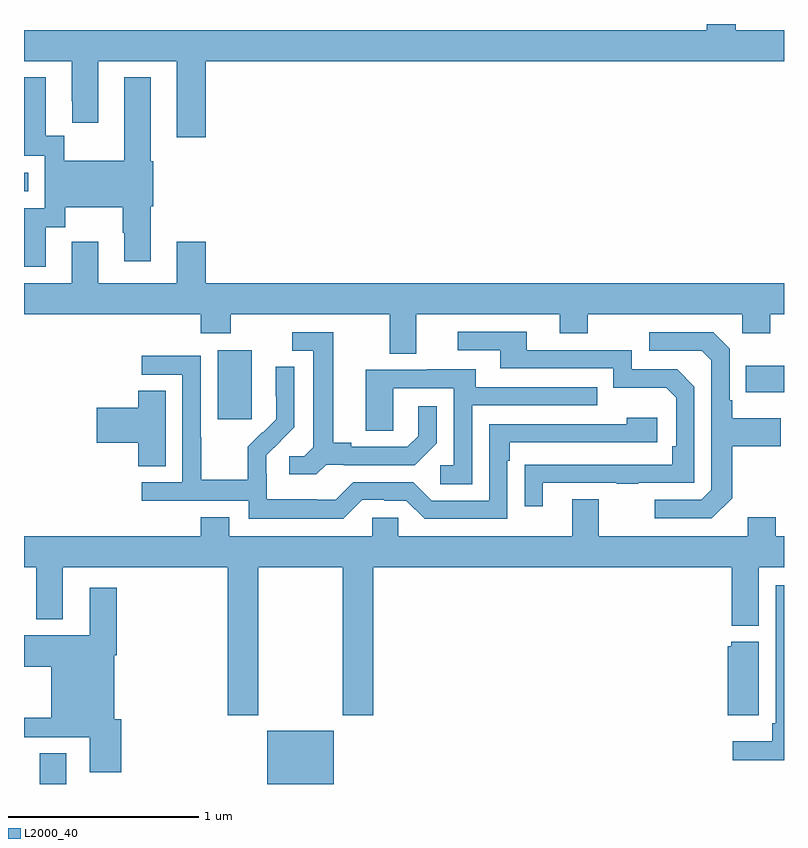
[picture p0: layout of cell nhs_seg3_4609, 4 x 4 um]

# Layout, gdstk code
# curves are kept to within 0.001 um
import gdstk
lib = gdstk.Library(unit=1e-6, precision=1e-09)
def R(c, l, rs):  # rectangles x0, y0, x1, y1
    for r in rs: c.add(gdstk.rectangle(r[:2], r[2:], *l))
def P(c, l, *ps):  # polygons
    for p in ps: c.add(gdstk.Polygon(p, *l))
L2000_40 = (2000, 40)

nhs_seg3_4609 = lib.new_cell('nhs_seg3_4609')
R(nhs_seg3_4609, L2000_40, [(357.083,742.4,357.223,742.562), (358.28,742.4,358.63,742.681), (358.019,744.321,358.198,744.682), (360.799,744.461,361,744.601), (357,745.521,357.023,745.617)])
P(nhs_seg3_4609, L2000_40, [(357.956,746.204),(361,746.204),(361,746.368),(360.745,746.368),(360.745,746.4),(360.593,746.4),(360.593,746.368),(357,746.368),(357,746.204),(357.251,746.204),(357.251,745.993),(357.254,745.993),(357.254,745.881),(357.391,745.881),(357.391,746.204),(357.803,746.204),(357.803,745.803),(357.956,745.803)],
  [(357.115,745.33),(357.217,745.33),(357.217,745.436),(357.52,745.436),(357.52,745.302),(357.527,745.302),(357.527,745.152),(357.667,745.152),(357.667,745.44),(357.68,745.44),(357.68,745.677),(357.667,745.677),(357.667,746.119),(357.527,746.119),(357.527,745.681),(357.213,745.681),(357.213,745.811),(357.115,745.811),(357.115,746.119),(357,746.119),(357,745.707),(357.108,745.707),(357.108,745.431),(357,745.431),(357,745.122),(357.115,745.122)],
  [(357.251,745.255),(357.251,745.036),(357,745.036),(357,744.872),(357.929,744.872),(357.929,744.773),(358.089,744.773),(358.089,744.872),(358.925,744.872),(358.925,744.664),(359.065,744.664),(359.065,744.872),(359.819,744.872),(359.819,744.773),(359.967,744.773),(359.967,744.872),(360.78,744.872),(360.78,744.773),(360.927,744.773),(360.927,744.872),(361,744.872),(361,745.036),(357.956,745.036),(357.956,745.255),(357.803,745.255),(357.803,745.036),(357.391,745.036),(357.391,745.255)],
  [(359.731,743.985),(360.121,743.985),(360.121,743.98),(360.233,743.98),(360.233,743.985),(360.528,743.985),(360.528,744.492),(360.438,744.582),(360.198,744.582),(360.198,744.684),(359.647,744.684),(359.647,744.78),(359.283,744.78),(359.283,744.684),(359.507,744.684),(359.507,744.588),(360.102,744.588),(360.102,744.485),(360.379,744.485),(360.432,744.432),(360.432,744.178),(360.412,744.178),(360.412,744.081),(359.635,744.08),(359.635,743.862),(359.731,743.862)],
  [(358.59,744.081),(358.684,744.081),(358.684,744.078),(359.056,744.078),(359.172,744.194),(359.172,744.388),(359.075,744.388),(359.075,744.231),(359.018,744.174),(358.723,744.174),(358.723,744.197),(358.627,744.197),(358.627,744.777),(358.413,744.777),(358.413,744.681),(358.523,744.681),(358.523,744.173),(358.476,744.126),(358.395,744.126),(358.395,744.029),(358.538,744.029)],
  [(360.727,743.905),(360.727,744.178),(360.983,744.178),(360.983,744.325),(360.727,744.325),(360.727,744.421),(360.714,744.421),(360.714,744.69),(360.627,744.777),(360.291,744.777),(360.291,744.681),(360.567,744.681),(360.618,744.63),(360.618,743.949),(360.564,743.895),(360.321,743.895),(360.321,743.799),(360.621,743.799)],
  [(358.779,743.895),(358.895,743.895),(358.895,743.892),(359.013,743.892),(359.109,743.796),(359.544,743.796),(359.544,744.101),(359.557,744.101),(359.557,744.198),(360.334,744.198),(360.334,744.328),(360.173,744.328),(360.173,744.294),(359.448,744.294),(359.448,743.892),(359.145,743.892),(359.049,743.988),(358.734,743.988),(358.641,743.895),(358.541,743.895),(358.541,743.899),(358.278,743.899),(358.278,744.033),(358.276,744.033),(358.276,744.13),(358.422,744.278),(358.422,744.596),(358.326,744.596),(358.326,744.442),(358.328,744.442),(358.328,744.32),(358.257,744.249),(358.254,744.252),(358.177,744.175),(358.177,744.001),(357.933,744.001),(357.933,744.224),(357.93,744.224),(357.93,744.654),(357.621,744.654),(357.621,744.555),(357.834,744.555),(357.834,743.988),(357.621,743.988),(357.621,743.892),(358.182,743.892),(358.182,743.795),(358.679,743.795)],
  [(359.358,744.393),(360.017,744.393),(360.017,744.489),(359.377,744.489),(359.377,744.583),(359.123,744.583),(359.123,744.579),(358.799,744.579),(358.799,744.259),(358.944,744.259),(358.944,744.483),(359.262,744.483),(359.262,744.078),(359.19,744.078),(359.19,743.977),(359.358,743.977)],
  [(357.745,744.47),(357.602,744.47),(357.602,744.38),(357.384,744.38),(357.384,744.197),(357.602,744.197),(357.602,744.073),(357.745,744.073)],
  [(358.233,743.54),(358.678,743.54),(358.678,742.761),(358.838,742.761),(358.838,743.54),(360.725,743.54),(360.725,743.234),(360.868,743.234),(360.868,743.54),(361,743.54),(361,743.704),(360.957,743.704),(360.957,743.803),(360.809,743.803),(360.809,743.704),(360.025,743.704),(360.025,743.899),(359.885,743.899),(359.885,743.704),(358.971,743.704),(358.971,743.802),(358.833,743.802),(358.833,743.704),(358.081,743.704),(358.081,743.803),(357.929,743.803),(357.929,743.704),(357,743.704),(357,743.54),(357.065,743.54),(357.065,743.267),(357.205,743.267),(357.205,743.54),(358.073,743.54),(358.073,742.761),(358.233,742.761)],
  [(361,743.446),(360.957,743.446),(360.957,742.72),(360.937,742.72),(360.937,742.624),(360.729,742.624),(360.729,742.526),(361,742.526)],
  [(357.512,742.74),(357.475,742.74),(357.475,743.078),(357.488,743.078),(357.488,743.434),(357.347,743.434),(357.347,743.182),(357,743.182),(357,743.018),(357.143,743.018),(357.143,742.748),(357,742.748),(357,742.647),(357.347,742.647),(357.347,742.461),(357.512,742.461)],
  [(360.868,743.149),(360.723,743.149),(360.723,743.124),(360.704,743.124),(360.704,742.763),(360.868,742.763)])

lib.write_gds('nhs_seg3_4609.gds')
